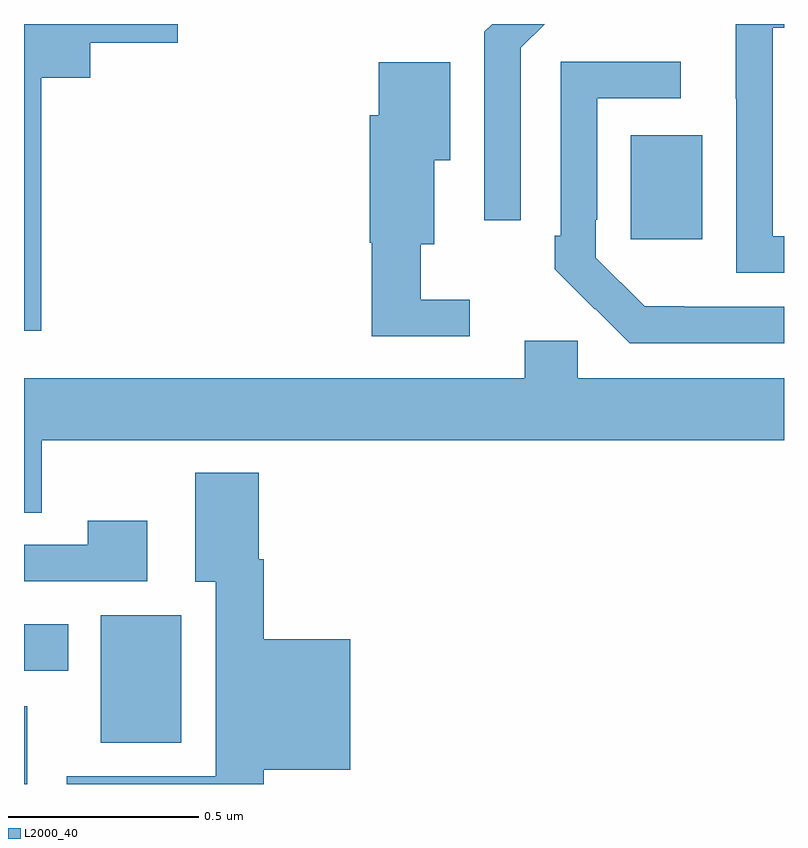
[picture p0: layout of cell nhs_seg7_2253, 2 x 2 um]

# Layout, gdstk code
import gdstk
lib = gdstk.Library(unit=1e-6, precision=1e-09)
def R(c, l, rs):  # rectangles x0, y0, x1, y1
    for r in rs: c.add(gdstk.rectangle(r[:2], r[2:], *l))
def P(c, l, *ps):  # polygons
    for p in ps: c.add(gdstk.Polygon(p, *l))
L2000_40 = (2000, 40)

nhs_seg7_2253 = lib.new_cell('nhs_seg7_2253')
R(nhs_seg7_2253, L2000_40, [(142,1045,142.009,1045.204), (142.202,1045.109,142.414,1045.444), (142,1045.298,142.117,1045.42), (143.597,1046.433,143.785,1046.707)])
P(nhs_seg7_2253, L2000_40, [(143.307,1046.937),(143.37,1047),(143.232,1047),(143.211,1046.979),(143.211,1046.484),(143.307,1046.484)],
  [(144,1046.442),(143.97,1046.442),(143.97,1046.99),(144,1046.99),(144,1047),(143.873,1047),(143.873,1046.803),(143.874,1046.803),(143.874,1046.346),(144,1046.346)],
  [(142.045,1046.858),(142.174,1046.858),(142.174,1046.951),(142.405,1046.951),(142.405,1047),(142,1047),(142,1046.193),(142.045,1046.193)],
  [(144,1046.256),(143.737,1046.256),(143.737,1046.257),(143.634,1046.257),(143.505,1046.385),(143.505,1046.485),(143.508,1046.485),(143.508,1046.805),(143.728,1046.805),(143.728,1046.901),(143.412,1046.901),(143.412,1046.443),(143.397,1046.443),(143.397,1046.355),(143.502,1046.25),(143.503,1046.251),(143.594,1046.16),(144,1046.16)],
  [(143.173,1046.275),(143.044,1046.275),(143.044,1046.42),(143.08,1046.42),(143.08,1046.642),(143.122,1046.642),(143.122,1046.899),(142.934,1046.899),(142.934,1046.76),(142.91,1046.76),(142.91,1046.424),(142.915,1046.424),(142.915,1046.178),(143.173,1046.178)],
  [(142.047,1045.904),(144,1045.904),(144,1046.068),(143.457,1046.068),(143.457,1046.166),(143.318,1046.166),(143.318,1046.068),(142,1046.068),(142,1045.714),(142.047,1045.714)],
  [(142.631,1045.037),(142.858,1045.037),(142.858,1045.381),(142.631,1045.381),(142.631,1045.592),(142.618,1045.592),(142.618,1045.819),(142.451,1045.819),(142.451,1045.532),(142.505,1045.532),(142.505,1045.02),(142.113,1045.02),(142.113,1045),(142.631,1045)],
  [(142.324,1045.693),(142.168,1045.693),(142.168,1045.629),(142,1045.629),(142,1045.533),(142.324,1045.533)])

lib.write_gds('nhs_seg7_2253.gds')
